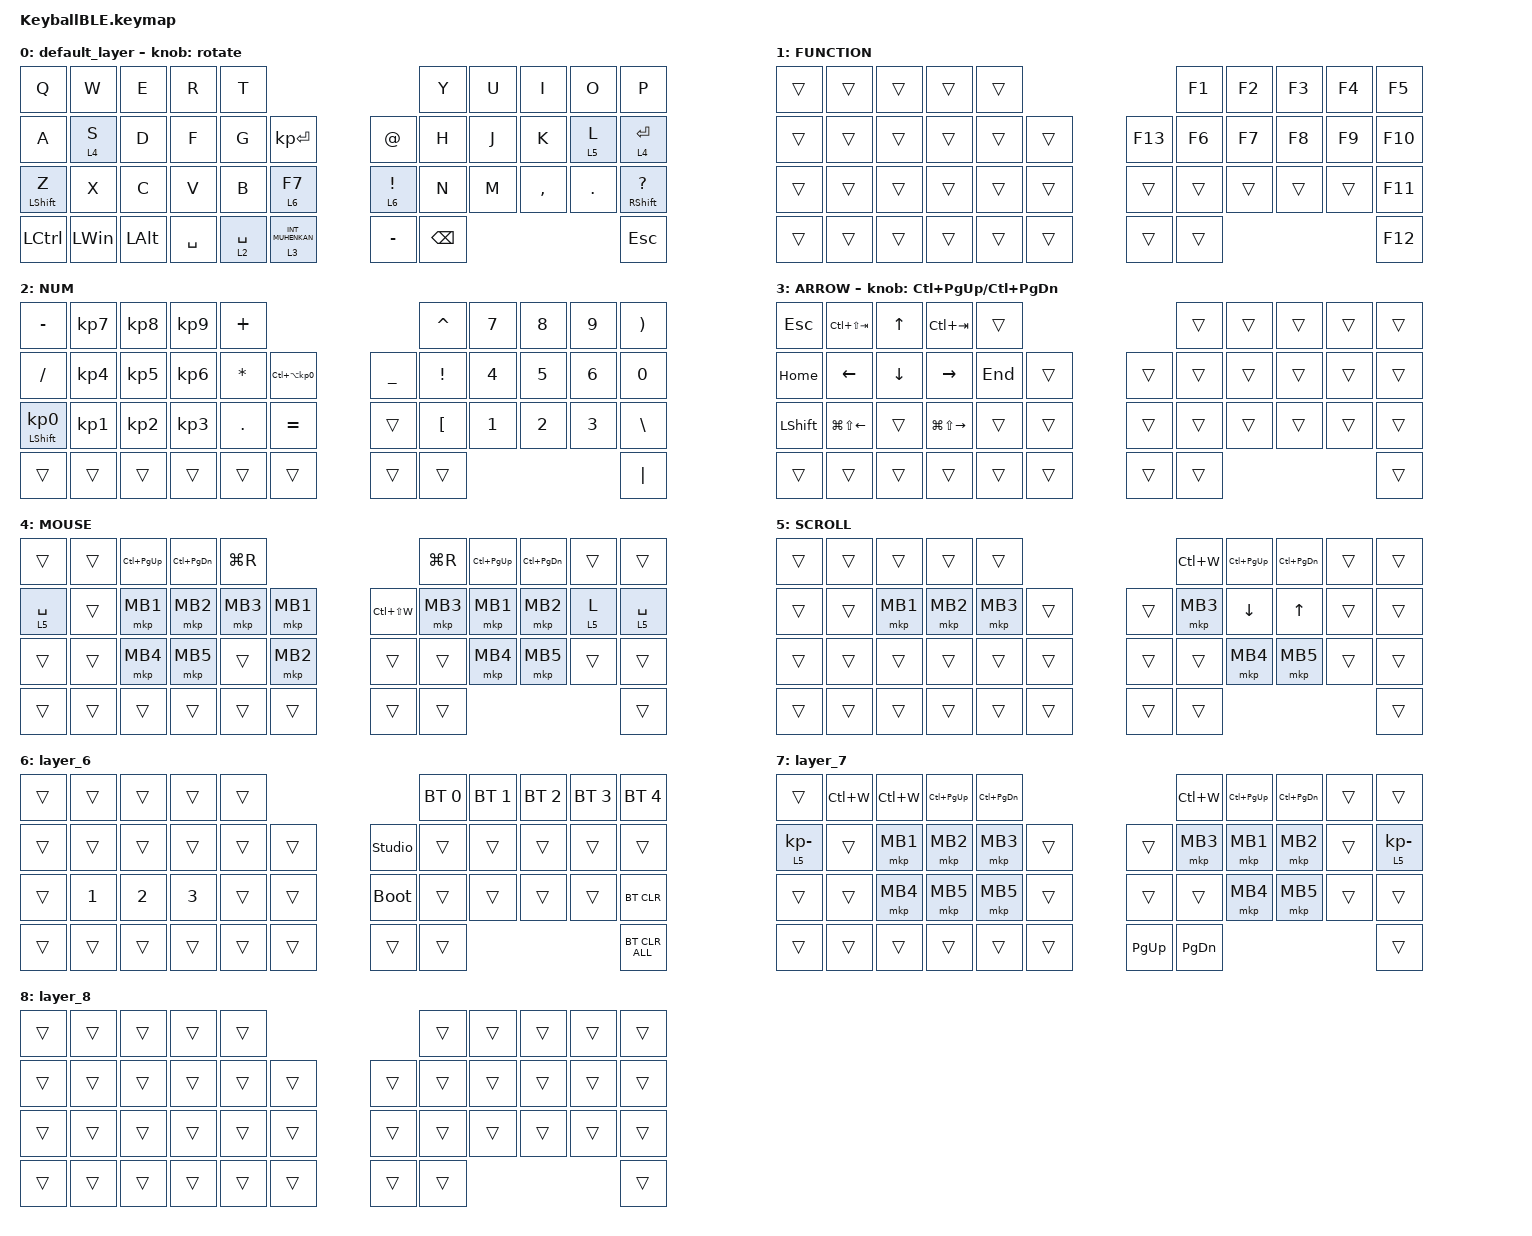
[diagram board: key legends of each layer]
#include <behaviors.dtsi>
#include <dt-bindings/zmk/bt.h>
#include <dt-bindings/zmk/keys.h>
#include <dt-bindings/zmk/pointing.h>

#define ZMK_MOUSE_DEFAULT_SCRL_VAL 25
#define MOUSE 4
#define SCROLL 5
#define NUM 6

&mt {
    flavor = "balanced";
    quick-tap-ms = <0>;
};

/ {
    combos {
        compatible = "zmk,combos";

        caps {
            bindings = <&kp CAPSLOCK>;
            key-positions = <18 13>;
        };

        kasoumigi {
            bindings = <&kp RC(RIGHT_ARROW)>;
            key-positions = <21 20 19 18>;
        };

        kasouhidari {
            bindings = <&kp LC(LEFT)>;
            key-positions = <10 11 12 13>;
        };

        tab {
            bindings = <&kp TAB>;
            key-positions = <10 21>;
        };

        madomigi {
            bindings = <&kp RC(RA(RIGHT_ARROW))>;
            key-positions = <18 19>;
            layers = <4>;
        };

        madohidari {
            bindings = <&kp RC(RA(LEFT))>;
            key-positions = <13 12>;
            layers = <4>;
        };
    };

    macros {
        to_layer_0: to_layer_0 {
            compatible = "zmk,behavior-macro-one-param";
            #binding-cells = <1>;
            bindings = <&to 0 &macro_param_1to1 &kp MACRO_PLACEHOLDER>;
            label = "TO_LAYER_0";
        };
    };

    behaviors {
        lt_to_layer_0: lt_to_layer_0 {
            compatible = "zmk,behavior-hold-tap";
            label = "LAYER_TAP_TO_0";
            bindings = <&mo>, <&to_layer_0>;

            #binding-cells = <2>;
            tapping-term-ms = <200>;
        };

        rotate: rotate {
            compatible = "zmk,behavior-sensor-rotate";
            label = "ROTATE";
            #sensor-binding-cells = <0>;
            bindings = <&msc SCRL_UP>, <&msc SCRL_DOWN>;

            tap-ms = <20>;
        };
    };

    keymap {
        compatible = "zmk,keymap";

        default_layer {
            bindings = <
&kp Q             &kp W         &kp E         &kp R      &kp T                                                        &kp Y          &kp U  &kp I      &kp O       &kp P
&kp A             &lt 4 S       &kp D         &kp F      &kp G        &kp KP_ENTER                       &kp AT_SIGN  &kp H          &kp J  &kp K      &lt 5 L     &lt 4 RET
&mt LEFT_SHIFT Z  &kp X         &kp C         &kp V      &kp B        &lt 6 F7                           &lt 6 EXCL   &kp N          &kp M  &kp COMMA  &kp PERIOD  &mt RIGHT_SHIFT QUESTION
&kp LCTRL         &kp LEFT_WIN  &kp LEFT_ALT  &kp SPACE  &lt 2 SPACE  &lt_to_layer_0 3 INT_MUHENKAN      &kp MINUS    &kp BACKSPACE                                &kp ESC
            >;

            sensor-bindings = <&rotate>;
        };

        FUNCTION {
            bindings = <
&trans  &trans  &trans  &trans  &trans                       &kp F1  &kp F2  &kp F3  &kp F4  &kp F5
&trans  &trans  &trans  &trans  &trans  &trans      &kp F13  &kp F6  &kp F7  &kp F8  &kp F9  &kp F10
&trans  &trans  &trans  &trans  &trans  &trans      &trans   &trans  &trans  &trans  &trans  &kp F11
&trans  &trans  &trans  &trans  &trans  &trans      &trans   &trans                          &kp F12
            >;
        };

        NUM {
            bindings = <
&kp MINUS                   &kp KP_NUMBER_7  &kp KP_NUMBER_8  &kp KP_NUMBER_9  &kp PLUS                                                   &kp CARET         &kp N7        &kp N8        &kp N9        &kp RIGHT_PARENTHESIS
&kp SLASH                   &kp KP_NUMBER_4  &kp KP_NUMBER_5  &kp KP_NUMBER_6  &kp ASTERISK  &kp LC(LA(KP_NUMBER_0))      &kp UNDERSCORE  &kp EXCLAMATION   &kp NUMBER_4  &kp N5        &kp NUMBER_6  &kp N0
&mt LEFT_SHIFT KP_NUMBER_0  &kp KP_NUMBER_1  &kp KP_NUMBER_2  &kp KP_NUMBER_3  &kp PERIOD    &kp EQUAL                    &trans          &kp LEFT_BRACKET  &kp NUMBER_1  &kp NUMBER_2  &kp NUMBER_3  &kp BACKSLASH
&trans                      &trans           &trans           &trans           &trans        &trans                       &trans          &trans                                                      &kp PIPE
            >;
        };

        ARROW {
            bindings = <
&kp ESCAPE      &kp LC(LS(TAB))         &kp UP_ARROW    &kp LC(TAB)              &trans                       &trans  &trans  &trans  &trans  &trans
&kp HOME        &kp LEFT_ARROW          &kp DOWN_ARROW  &kp RIGHT_ARROW          &kp END  &trans      &trans  &trans  &trans  &trans  &trans  &trans
&kp LEFT_SHIFT  &kp LG(LS(LEFT_ARROW))  &trans          &kp LG(LS(RIGHT_ARROW))  &trans   &trans      &trans  &trans  &trans  &trans  &trans  &trans
&trans          &trans                  &trans          &trans                   &trans   &trans      &trans  &trans                          &trans
            >;

            sensor-bindings = <&inc_dec_kp LC(PAGE_UP) LC(PAGE_DOWN)>;
        };

        MOUSE {
            bindings = <
&trans       &trans  &kp LC(PAGE_UP)  &kp LC(PAGE_DOWN)  &kp LG(R)                               &kp LG(R)  &kp LC(PAGE_UP)  &kp LC(PAGE_DOWN)  &trans   &trans
&lt 5 SPACE  &trans  &mkp MB1         &mkp MB2           &mkp MB3   &mkp MB1      &kp LC(LS(W))  &mkp MB3   &mkp MB1         &mkp MB2           &lt 5 L  &lt 5 SPACE
&trans       &trans  &mkp MB4         &mkp MB5           &trans     &mkp MB2      &trans         &trans     &mkp MB4         &mkp MB5           &trans   &trans
&trans       &trans  &trans           &trans             &trans     &trans        &trans         &trans                                                  &trans
            >;
        };

        SCROLL {
            bindings = <
&trans  &trans  &trans    &trans    &trans                        &kp LC(W)  &kp LC(PAGE_UP)  &kp LC(PAGE_DOWN)  &trans  &trans
&trans  &trans  &mkp MB1  &mkp MB2  &mkp MB3  &trans      &trans  &mkp MB3   &kp DOWN_ARROW   &kp UP_ARROW       &trans  &trans
&trans  &trans  &trans    &trans    &trans    &trans      &trans  &trans     &mkp MB4         &mkp MB5           &trans  &trans
&trans  &trans  &trans    &trans    &trans    &trans      &trans  &trans                                                 &trans
            >;
        };

        layer_6 {
            bindings = <
&trans  &trans        &trans        &trans        &trans                              &bt BT_SEL 0  &bt BT_SEL 1  &bt BT_SEL 2  &bt BT_SEL 3  &bt BT_SEL 4
&trans  &trans        &trans        &trans        &trans  &trans      &studio_unlock  &trans        &trans        &trans        &trans        &trans
&trans  &kp NUMBER_1  &kp NUMBER_2  &kp NUMBER_3  &trans  &trans      &bootloader     &trans        &trans        &trans        &trans        &bt BT_CLR
&trans  &trans        &trans        &trans        &trans  &trans      &trans          &trans                                                  &bt BT_CLR_ALL
            >;
        };

        layer_7 {
            bindings = <
&trans                     &kp LC(W)  &kp LC(W)  &kp LC(PAGE_UP)  &kp LC(PAGE_DOWN)                           &kp LC(W)      &kp LC(PAGE_UP)  &kp LC(PAGE_DOWN)  &trans  &trans
&lt_to_layer_0 5 KP_MINUS  &trans     &mkp MB1   &mkp MB2         &mkp MB3           &trans      &trans       &mkp MB3       &mkp MB1         &mkp MB2           &trans  &lt_to_layer_0 5 KP_MINUS
&trans                     &trans     &mkp MB4   &mkp MB5         &mkp MB5           &trans      &trans       &trans         &mkp MB4         &mkp MB5           &trans  &trans
&trans                     &trans     &trans     &trans           &trans             &trans      &kp PAGE_UP  &kp PAGE_DOWN                                              &trans
            >;
        };

        layer_8 {
            bindings = <
&trans  &trans  &trans  &trans  &trans                      &trans  &trans  &trans  &trans  &trans
&trans  &trans  &trans  &trans  &trans  &trans      &trans  &trans  &trans  &trans  &trans  &trans
&trans  &trans  &trans  &trans  &trans  &trans      &trans  &trans  &trans  &trans  &trans  &trans
&trans  &trans  &trans  &trans  &trans  &trans      &trans  &trans                          &trans
            >;
        };
    };
};
